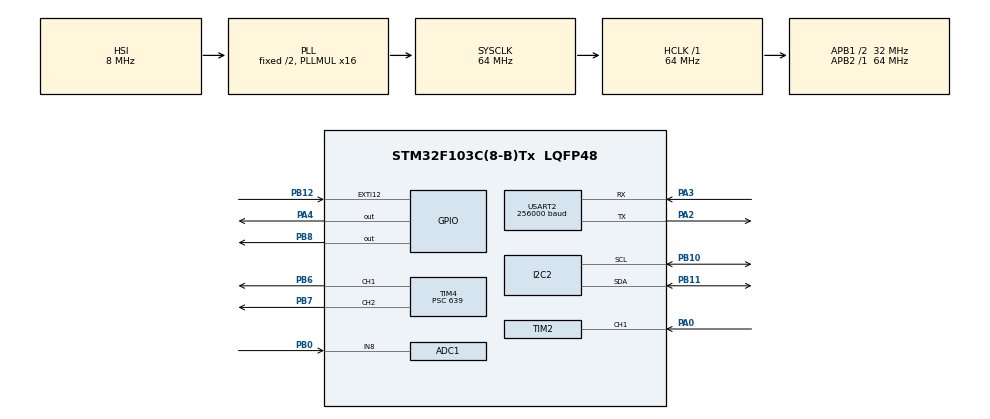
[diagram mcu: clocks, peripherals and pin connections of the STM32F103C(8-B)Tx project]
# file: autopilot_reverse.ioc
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ADC1.Channel-0\#ChannelRegularConversion=ADC_CHANNEL_8
ADC1.ContinuousConvMode=DISABLE
ADC1.NbrOfConversionFlag=1
ADC1.Rank-0\#ChannelRegularConversion=1
ADC1.SamplingTime-0\#ChannelRegularConversion=ADC_SAMPLETIME_1CYCLE_5
ADC1.master=1
I2C2.I2C_Mode=I2C_Fast
Mcu.Family=STM32F1
Mcu.Name=STM32F103C(8-B)Tx
Mcu.Package=LQFP48
NVIC.PriorityGroup=NVIC_PRIORITYGROUP_4
NVIC.TIM2_IRQn=true\:0\:0\:false\:false\:true\:true\:true\:true
NVIC.USART2_IRQn=true\:0\:0\:false\:false\:true\:true\:true\:true
PA0-WKUP.GPIO_PuPd=GPIO_NOPULL
PA0-WKUP.Signal=S_TIM2_CH1_ETR
PA13.Mode=Serial_Wire
PA13.Signal=SYS_JTMS-SWDIO
PA14.Mode=Serial_Wire
PA14.Signal=SYS_JTCK-SWCLK
PA2.Mode=Asynchronous
PA2.Signal=USART2_TX
PA3.Mode=Asynchronous
PA3.Signal=USART2_RX
PA4.GPIO_Speed=GPIO_SPEED_FREQ_HIGH
PA4.Signal=GPIO_Output
PB0.Signal=ADCx_IN8
PB10.Mode=I2C
PB10.Signal=I2C2_SCL
PB11.Mode=I2C
PB11.Signal=I2C2_SDA
PB12.GPIO_PuPd=GPIO_NOPULL
PB12.Signal=GPXTI12
PB6.Signal=S_TIM4_CH1
PB7.Signal=S_TIM4_CH2
PB8.Signal=GPIO_Output
ProjectManager.HeapSize=0x200
ProjectManager.StackSize=0x400
ProjectManager.TargetToolchain=STM32CubeIDE
RCC.ADCPresc=RCC_ADCPCLK2_DIV8
RCC.AHBFreq_Value=64000000
RCC.APB1CLKDivider=RCC_HCLK_DIV2
RCC.APB1Freq_Value=32000000
RCC.APB1TimFreq_Value=64000000
RCC.APB2Freq_Value=64000000
RCC.APB2TimFreq_Value=64000000
RCC.HCLKFreq_Value=64000000
RCC.PLLMUL=RCC_PLL_MUL16
RCC.SYSCLKFreq_VALUE=64000000
RCC.SYSCLKSource=RCC_SYSCLKSOURCE_PLLCLK
RCC.USBFreq_Value=64000000
SH.ADCx_IN8.0=ADC1_IN8,IN8
SH.S_TIM2_CH1_ETR.0=TIM2_CH1,PWM_Input_1
SH.S_TIM4_CH1.0=TIM4_CH1,PWM Generation1 CH1
SH.S_TIM4_CH2.0=TIM4_CH2,PWM Generation2 CH2
TIM2.AutoReloadPreload=TIM_AUTORELOAD_PRELOAD_ENABLE
TIM2.Prescaler=64-1
TIM4.Channel-PWM\ Generation1\ CH1=TIM_CHANNEL_1
TIM4.Channel-PWM\ Generation2\ CH2=TIM_CHANNEL_2
TIM4.Period=1999
TIM4.Prescaler=639
USART2.BaudRate=256000
USART2.VirtualMode=VM_ASYNC
VP_TIM2_VS_ClockSourceINT.Mode=Internal
VP_TIM4_VS_ClockSourceINT.Mode=Internal
board=custom

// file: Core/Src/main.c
/* USER CODE BEGIN Header */
/**
  ******************************************************************************
  * @file           : main.c
  * @brief          : Main program body
  ******************************************************************************
  * @attention
  *
  * Copyright (c) 2022 STMicroelectronics.
  * All rights reserved.
  *
  * This software is licensed under terms that can be found in the LICENSE file
  * in the root directory of this software component.
  * If no LICENSE file comes with this software, it is provided AS-IS.
  *
  ******************************************************************************
  */
/* USER CODE END Header */
#include "main.h"

/* USER CODE BEGIN Includes */

#include "6050i2c.h"
#include "myservo.h"
#include "inputPWM.c"
#include "_utils.h"

/* USER CODE END Includes */

 ADC_HandleTypeDef hadc1;

I2C_HandleTypeDef hi2c2;

TIM_HandleTypeDef htim2;
TIM_HandleTypeDef htim4;

UART_HandleTypeDef huart2;

/* USER CODE BEGIN PV */

Gyro5060_InitTypeDef  MPU6050_Data;

float ServoRight=0;
float ServoLeft=0;

float k=1.2;

/* USER CODE END PV */

void SystemClock_Config(void);
static void MX_GPIO_Init(void);
static void MX_I2C2_Init(void);
static void MX_USART2_UART_Init(void);
static void MX_TIM4_Init(void);
static void MX_TIM2_Init(void);
static void MX_ADC1_Init(void);

/* USER CODE BEGIN 0 */

void HAL_TIM_IC_CaptureCallback(TIM_HandleTypeDef *htim)
{

	HAL_GPIO_WritePin(GPIOA, GPIO_PIN_4, GPIO_PIN_SET);
	MPU6050_Data.pwm_in=HAL_TIM_ReadCapturedValue(htim, TIM_CHANNEL_2);

}

/* USER CODE END 0 */

int main(void)
{

  /* MCU Configuration--------------------------------------------------------*/

  /* Reset of all peripherals, Initializes the Flash interface and the Systick. */
  HAL_Init();

  /* Configure the system clock */
  SystemClock_Config();

  /* Initialize all configured peripherals */
  MX_GPIO_Init();
  MX_I2C2_Init();
  MX_USART2_UART_Init();
  MX_TIM4_Init();
  MX_TIM2_Init();
  MX_ADC1_Init();
  /* USER CODE BEGIN 2 */

  ///// Start

  HAL_TIM_IC_Start_IT(&htim2, TIM_CHANNEL_1);
  HAL_TIM_IC_Start_IT(&htim2, TIM_CHANNEL_2);
  MyServo_Init(&htim4);

  HAL_Delay(500);
  MPU6050_Init();
  HAL_Delay(500);
  MPU6050_Calibrate();

  /* USER CODE END 2 */

  /* Infinite loop */
  while (1)
  {

    /* USER CODE BEGIN 3 */

	  HAL_GPIO_TogglePin(GPIOA, GPIO_PIN_4);

	  MPU6050_Data.aEileron_right=(MPU6050_Data.aPitch+MS_PwmtoAngle (MPU6050_Data.pwm_in ))-MPU6050_Data.aRoll;
	  MPU6050_Data.aEileron_left=-1*(MPU6050_Data.aPitch+MS_PwmtoAngle (MPU6050_Data.pwm_in ))-MPU6050_Data.aRoll;

	  ServoRight=MPU6050_Data.aEileron_right;
	  ServoLeft=MPU6050_Data.aEileron_left;

	  MyServo_Rotate(ServoRight*k, 1); /// Right
	  MyServo_Rotate(ServoLeft*k, 2);	//// Left

	  HAL_Delay(10);
  }
  /* USER CODE END 3 */
}

void SystemClock_Config(void)
{
  RCC_OscInitTypeDef RCC_OscInitStruct = {0};
  RCC_ClkInitTypeDef RCC_ClkInitStruct = {0};
  RCC_PeriphCLKInitTypeDef PeriphClkInit = {0};

  /** Initializes the RCC Oscillators according to the specified parameters
  * in the RCC_OscInitTypeDef structure.
  */
  RCC_OscInitStruct.OscillatorType = RCC_OSCILLATORTYPE_HSI;
  RCC_OscInitStruct.HSIState = RCC_HSI_ON;
  RCC_OscInitStruct.HSICalibrationValue = RCC_HSICALIBRATION_DEFAULT;
  RCC_OscInitStruct.PLL.PLLState = RCC_PLL_ON;
  RCC_OscInitStruct.PLL.PLLSource = RCC_PLLSOURCE_HSI_DIV2;
  RCC_OscInitStruct.PLL.PLLMUL = RCC_PLL_MUL16;
  if (HAL_RCC_OscConfig(&RCC_OscInitStruct) != HAL_OK)
  {
    Error_Handler();
  }

  /** Initializes the CPU, AHB and APB buses clocks
  */
  RCC_ClkInitStruct.ClockType = RCC_CLOCKTYPE_HCLK|RCC_CLOCKTYPE_SYSCLK
                              |RCC_CLOCKTYPE_PCLK1|RCC_CLOCKTYPE_PCLK2;
  RCC_ClkInitStruct.SYSCLKSource = RCC_SYSCLKSOURCE_PLLCLK;
  RCC_ClkInitStruct.AHBCLKDivider = RCC_SYSCLK_DIV1;
  RCC_ClkInitStruct.APB1CLKDivider = RCC_HCLK_DIV2;
  RCC_ClkInitStruct.APB2CLKDivider = RCC_HCLK_DIV1;

  if (HAL_RCC_ClockConfig(&RCC_ClkInitStruct, FLASH_LATENCY_2) != HAL_OK)
  {
    Error_Handler();
  }
  PeriphClkInit.PeriphClockSelection = RCC_PERIPHCLK_ADC;
  PeriphClkInit.AdcClockSelection = RCC_ADCPCLK2_DIV8;
  if (HAL_RCCEx_PeriphCLKConfig(&PeriphClkInit) != HAL_OK)
  {
    Error_Handler();
  }
}

static void MX_ADC1_Init(void)
{

  ADC_ChannelConfTypeDef sConfig = {0};

  /** Common config
  */
  hadc1.Instance = ADC1;
  hadc1.Init.ScanConvMode = ADC_SCAN_DISABLE;
  hadc1.Init.ContinuousConvMode = DISABLE;
  hadc1.Init.DiscontinuousConvMode = DISABLE;
  hadc1.Init.ExternalTrigConv = ADC_SOFTWARE_START;
  hadc1.Init.DataAlign = ADC_DATAALIGN_RIGHT;
  hadc1.Init.NbrOfConversion = 1;
  if (HAL_ADC_Init(&hadc1) != HAL_OK)
  {
    Error_Handler();
  }

  /** Configure Regular Channel
  */
  sConfig.Channel = ADC_CHANNEL_8;
  sConfig.Rank = ADC_REGULAR_RANK_1;
  sConfig.SamplingTime = ADC_SAMPLETIME_1CYCLE_5;
  if (HAL_ADC_ConfigChannel(&hadc1, &sConfig) != HAL_OK)
  {
    Error_Handler();
  }

}

static void MX_I2C2_Init(void)
{

  hi2c2.Instance = I2C2;
  hi2c2.Init.ClockSpeed = 400000;
  hi2c2.Init.DutyCycle = I2C_DUTYCYCLE_2;
  hi2c2.Init.OwnAddress1 = 0;
  hi2c2.Init.AddressingMode = I2C_ADDRESSINGMODE_7BIT;
  hi2c2.Init.DualAddressMode = I2C_DUALADDRESS_DISABLE;
  hi2c2.Init.OwnAddress2 = 0;
  hi2c2.Init.GeneralCallMode = I2C_GENERALCALL_DISABLE;
  hi2c2.Init.NoStretchMode = I2C_NOSTRETCH_DISABLE;
  if (HAL_I2C_Init(&hi2c2) != HAL_OK)
  {
    Error_Handler();
  }

}

static void MX_TIM2_Init(void)
{

  TIM_ClockConfigTypeDef sClockSourceConfig = {0};
  TIM_SlaveConfigTypeDef sSlaveConfig = {0};
  TIM_IC_InitTypeDef sConfigIC = {0};
  TIM_MasterConfigTypeDef sMasterConfig = {0};

  htim2.Instance = TIM2;
  htim2.Init.Prescaler = 64-1;
  htim2.Init.CounterMode = TIM_COUNTERMODE_UP;
  htim2.Init.Period = 65535;
  htim2.Init.ClockDivision = TIM_CLOCKDIVISION_DIV1;
  htim2.Init.AutoReloadPreload = TIM_AUTORELOAD_PRELOAD_ENABLE;
  if (HAL_TIM_Base_Init(&htim2) != HAL_OK)
  {
    Error_Handler();
  }
  sClockSourceConfig.ClockSource = TIM_CLOCKSOURCE_INTERNAL;
  if (HAL_TIM_ConfigClockSource(&htim2, &sClockSourceConfig) != HAL_OK)
  {
    Error_Handler();
  }
  if (HAL_TIM_IC_Init(&htim2) != HAL_OK)
  {
    Error_Handler();
  }
  sSlaveConfig.SlaveMode = TIM_SLAVEMODE_RESET;
  sSlaveConfig.InputTrigger = TIM_TS_TI1FP1;
  sSlaveConfig.TriggerPolarity = TIM_INPUTCHANNELPOLARITY_RISING;
  sSlaveConfig.TriggerPrescaler = TIM_ICPSC_DIV1;
  sSlaveConfig.TriggerFilter = 0;
  if (HAL_TIM_SlaveConfigSynchro(&htim2, &sSlaveConfig) != HAL_OK)
  {
    Error_Handler();
  }
  sConfigIC.ICPolarity = TIM_INPUTCHANNELPOLARITY_RISING;
  sConfigIC.ICSelection = TIM_ICSELECTION_DIRECTTI;
  sConfigIC.ICPrescaler = TIM_ICPSC_DIV1;
  sConfigIC.ICFilter = 0;
  if (HAL_TIM_IC_ConfigChannel(&htim2, &sConfigIC, TIM_CHANNEL_1) != HAL_OK)
  {
    Error_Handler();
  }
  sConfigIC.ICPolarity = TIM_INPUTCHANNELPOLARITY_FALLING;
  sConfigIC.ICSelection = TIM_ICSELECTION_INDIRECTTI;
  if (HAL_TIM_IC_ConfigChannel(&htim2, &sConfigIC, TIM_CHANNEL_2) != HAL_OK)
  {
    Error_Handler();
  }
  sMasterConfig.MasterOutputTrigger = TIM_TRGO_RESET;
  sMasterConfig.MasterSlaveMode = TIM_MASTERSLAVEMODE_DISABLE;
  if (HAL_TIMEx_MasterConfigSynchronization(&htim2, &sMasterConfig) != HAL_OK)
  {
    Error_Handler();
  }

}

static void MX_TIM4_Init(void)
{

  TIM_ClockConfigTypeDef sClockSourceConfig = {0};
  TIM_MasterConfigTypeDef sMasterConfig = {0};
  TIM_OC_InitTypeDef sConfigOC = {0};

  htim4.Instance = TIM4;
  htim4.Init.Prescaler = 639;
  htim4.Init.CounterMode = TIM_COUNTERMODE_UP;
  htim4.Init.Period = 1999;
  htim4.Init.ClockDivision = TIM_CLOCKDIVISION_DIV1;
  htim4.Init.AutoReloadPreload = TIM_AUTORELOAD_PRELOAD_DISABLE;
  if (HAL_TIM_Base_Init(&htim4) != HAL_OK)
  {
    Error_Handler();
  }
  sClockSourceConfig.ClockSource = TIM_CLOCKSOURCE_INTERNAL;
  if (HAL_TIM_ConfigClockSource(&htim4, &sClockSourceConfig) != HAL_OK)
  {
    Error_Handler();
  }
  if (HAL_TIM_PWM_Init(&htim4) != HAL_OK)
  {
    Error_Handler();
  }
  sMasterConfig.MasterOutputTrigger = TIM_TRGO_RESET;
  sMasterConfig.MasterSlaveMode = TIM_MASTERSLAVEMODE_DISABLE;
  if (HAL_TIMEx_MasterConfigSynchronization(&htim4, &sMasterConfig) != HAL_OK)
  {
    Error_Handler();
  }
  sConfigOC.OCMode = TIM_OCMODE_PWM1;
  sConfigOC.Pulse = 0;
  sConfigOC.OCPolarity = TIM_OCPOLARITY_HIGH;
  sConfigOC.OCFastMode = TIM_OCFAST_DISABLE;
  if (HAL_TIM_PWM_ConfigChannel(&htim4, &sConfigOC, TIM_CHANNEL_1) != HAL_OK)
  {
    Error_Handler();
  }
  if (HAL_TIM_PWM_ConfigChannel(&htim4, &sConfigOC, TIM_CHANNEL_2) != HAL_OK)
  {
    Error_Handler();
  }
  HAL_TIM_MspPostInit(&htim4);

}

static void MX_USART2_UART_Init(void)
{

  huart2.Instance = USART2;
  huart2.Init.BaudRate = 256000;
  huart2.Init.WordLength = UART_WORDLENGTH_8B;
  huart2.Init.StopBits = UART_STOPBITS_1;
  huart2.Init.Parity = UART_PARITY_NONE;
  huart2.Init.Mode = UART_MODE_TX_RX;
  huart2.Init.HwFlowCtl = UART_HWCONTROL_NONE;
  huart2.Init.OverSampling = UART_OVERSAMPLING_16;
  if (HAL_UART_Init(&huart2) != HAL_OK)
  {
    Error_Handler();
  }

}

static void MX_GPIO_Init(void)
{
  GPIO_InitTypeDef GPIO_InitStruct = {0};

  /* GPIO Ports Clock Enable */
  __HAL_RCC_GPIOA_CLK_ENABLE();
  __HAL_RCC_GPIOB_CLK_ENABLE();

  /*Configure GPIO pin Output Level */
  HAL_GPIO_WritePin(GPIOA, GPIO_PIN_4, GPIO_PIN_RESET);

  /*Configure GPIO pin Output Level */
  HAL_GPIO_WritePin(GPIOB, GPIO_PIN_8, GPIO_PIN_RESET);

  /*Configure GPIO pin : PA4 */
  GPIO_InitStruct.Pin = GPIO_PIN_4;
  GPIO_InitStruct.Mode = GPIO_MODE_OUTPUT_PP;
  GPIO_InitStruct.Pull = GPIO_NOPULL;
  GPIO_InitStruct.Speed = GPIO_SPEED_FREQ_HIGH;
  HAL_GPIO_Init(GPIOA, &GPIO_InitStruct);

  /*Configure GPIO pin : PB12 */
  GPIO_InitStruct.Pin = GPIO_PIN_12;
  GPIO_InitStruct.Mode = GPIO_MODE_IT_RISING;
  GPIO_InitStruct.Pull = GPIO_NOPULL;
  HAL_GPIO_Init(GPIOB, &GPIO_InitStruct);

  /*Configure GPIO pin : PB8 */
  GPIO_InitStruct.Pin = GPIO_PIN_8;
  GPIO_InitStruct.Mode = GPIO_MODE_OUTPUT_PP;
  GPIO_InitStruct.Pull = GPIO_NOPULL;
  GPIO_InitStruct.Speed = GPIO_SPEED_FREQ_LOW;
  HAL_GPIO_Init(GPIOB, &GPIO_InitStruct);

}

void Error_Handler(void)
{
  __disable_irq();
  while (1)
  {
  }
}
